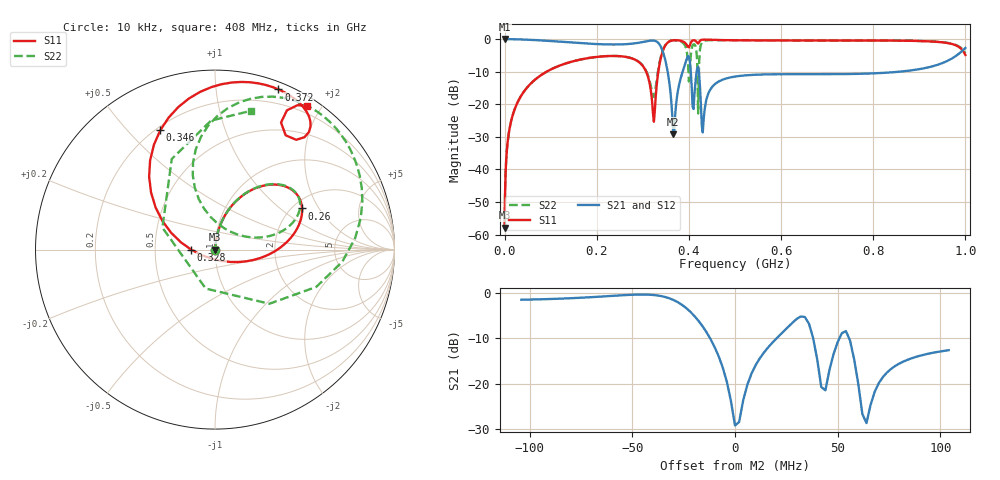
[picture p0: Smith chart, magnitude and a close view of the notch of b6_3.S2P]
!Generated from: C:\Users\nkfzm\OneDrive - University of Missouri\Desktop\Research\PowerSI\Board 6 - GGPG\b6.spd
! Port1_ic_port_1::pwr
! Port2_decap_port_1::pwr
!Layout Workbench Version: 24.1.0.10141.541387  000
!Computer Host Name: RS29JQCX3
!TouchstoneFormatFlag = 1
! GNDNET gnd
! NETSLIST
#	Hz	Z	RI	R	1
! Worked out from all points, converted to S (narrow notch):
!   385 points, 10 kHz to 1 GHz, reference 1 ohm
!   highest |S21| = -0.01 dB at 10 kHz (marker M1); lowest = -29.2 dB at 366 MHz (marker M2)
!   notch at M2: 27.5 dB deep, 17.6 MHz wide at half that depth
!   lowest |S11| = -57.8 dB at 10 kHz (marker M3), VSWR 1.00, Z = 1 + j8.51e-05 ohm
!   |S11| at or under -10 dB: start of sweep to 91.3 MHz; 307.1 MHz to 333.6 MHz (26.51 MHz wide, 8.28 % of centre)
!   |S22| runs from -57.8 to -0.3 dB; largest |S21 - S12| = 7.3e-12
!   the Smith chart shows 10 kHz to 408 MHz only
!   S11 on the Smith chart (normalised r, x): 10 kHz: 1.00, +0.00; 260 MHz: 2.24, +1.44; 328 MHz: 0.77, -0.00; 346 MHz: 0.22, +0.62; 372 MHz: 0.06, +1.47; 408 MHz: 0.11, +1.82
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10000  -0.0273 -1.034e+05  -0.0286 -1.034e+05  -0.0286 -1.034e+05  -0.0273 -1.034e+05
6000000  0.00419 -172.2  0.00216 -172.2  0.00216 -172.2  0.00416 -172.2
2.8e7  0.0094 -36.63  0.0049 -36.75  0.0049 -36.75  0.00934 -36.63
1.68e8  0.0239 -4.493  0.0129 -5.195  0.0129 -5.195  0.024 -4.47
2.6e8  0.0317 -1.328  0.0185 -2.401  0.0185 -2.401  0.033 -1.256
3.28e8  0.0399 0.3362  0.0271 -0.975  0.0271 -0.975  0.0477 0.5588
3.34e8  0.0411 0.4769  0.0287 -0.8494  0.0287 -0.8494  0.0507 0.7312
3.46e8  0.0443 0.7629  0.0336 -0.5853  0.0336 -0.5853  0.0598 1.106
3.66e8  0.0575 1.29  0.0579 -0.0315  0.0579 -0.0315  0.1083 1.976
3.72e8  0.0698 1.49  0.0824 0.222  0.0824 0.222  0.1581 2.42
3.98e8  0.1704 1.166  0.2907 -1.153  0.2907 -1.153  0.5961 -0.8014
4.02e8  0.1092 1.471  0.1619 -0.6264  0.1619 -0.6264  0.3256 0.2377
4.08e8  0.101 1.803  0.1426 -0.1016  0.1426 -0.1016  0.2823 1.242
4.18e8  0.5221 1.496  1.006 -0.9937  1.006 -0.9937  2.056 -0.7166
4.2e8  0.2056 1.664  0.3555 -0.7008  0.3555 -0.7008  0.7189 -0.1433
4.22e8  0.1219 1.816  0.183 -0.4421  0.183 -0.4421  0.3639 0.3608
4.3e8  0.0645 2.155  0.0633 0.0385  0.0633 0.0385  0.1161 1.239
4.46e8  0.0557 2.593  0.0416 0.5049  0.0416 0.5049  0.0687 1.973
5.05e8  0.0649 4.049  0.0452 1.777  0.0452 1.777  0.0643 3.65
6.7e8  0.2532 11.84  0.223 8.698  0.223 8.698  0.2373 11.16
8.35e8  0.5858 -12.5  0.5411 -15.3  0.5411 -15.3  0.5473 -11.08
1e9  0.0924 1.092  0.0683 -2.738  0.0683 -2.738  0.1033 2.029
